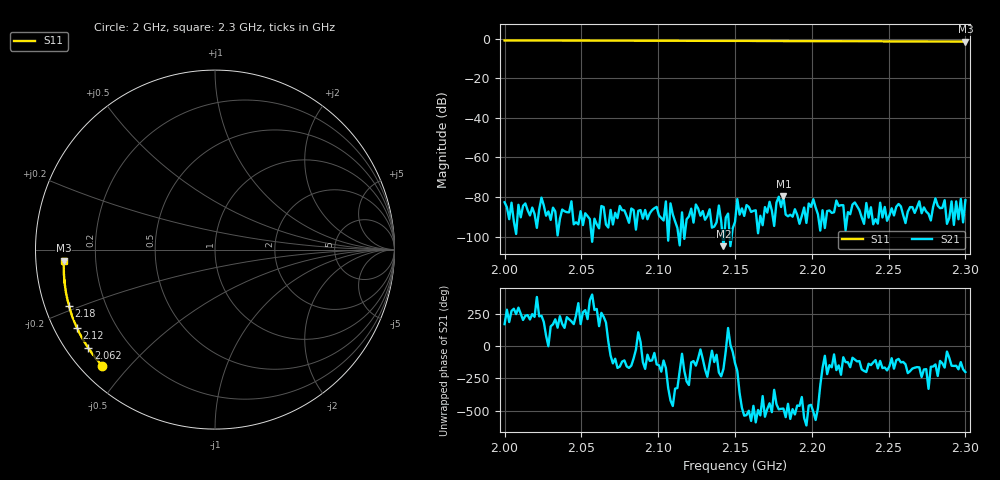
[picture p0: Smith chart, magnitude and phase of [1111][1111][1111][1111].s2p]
# HZ S RI R 50
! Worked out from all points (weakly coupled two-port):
!   201 points, 2 GHz to 2.3 GHz, reference 50 ohm
!   highest |S21| = -79.68 dB at 2.182 GHz (marker M1); lowest = -104.9 dB at 2.143 GHz (marker M2)
!   lowest |S11| = -1.5 dB at 2.3 GHz (marker M3), VSWR 11.87, Z = 4.22 - j1.83 ohm
!   |S11| at or under -10 dB: nowhere
!   S12 and S22 are empty: the file has one direction only
!   S11 on the Smith chart (normalised r, x): 2 GHz: 0.06, -0.42; 2.062 GHz: 0.06, -0.34; 2.12 GHz: 0.07, -0.26; 2.18 GHz: 0.07, -0.18; 2.3 GHz: 0.08, -0.04
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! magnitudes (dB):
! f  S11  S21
! 2 GHz  -0.9  -82.7
! 2.009 GHz  -0.9  -84.0
! 2.019 GHz  -0.9  -88.6
! 2.022 GHz  -0.9  -86.4
! 2.024 GHz  -0.9  -80.3
! 2.026 GHz  -0.9  -84.2
! 2.051 GHz  -1.0  -94.2
! 2.062 GHz  -1.0  -95.8
! 2.071 GHz  -1.0  -93.9
! 2.074 GHz  -1.0  -90.7
! 2.1 GHz  -1.0  -89.4
! 2.12 GHz  -1.1  -89.8
! 2.143 GHz  -1.1  -104.9
! 2.15 GHz  -1.1  -92.6
! 2.177 GHz  -1.2  -82.8
! 2.179 GHz  -1.2  -79.9
! 2.18 GHz  -1.2  -85.1
! 2.182 GHz  -1.2  -79.7
! 2.183 GHz  -1.2  -88.9
! 2.201 GHz  -1.2  -81.1
! 2.251 GHz  -1.4  -89.5
! 2.3 GHz  -1.5  -81.6
